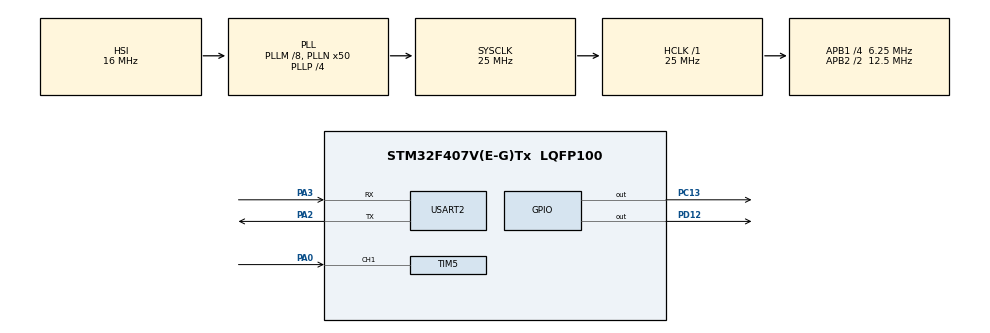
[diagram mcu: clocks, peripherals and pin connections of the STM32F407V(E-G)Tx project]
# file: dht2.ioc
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Mcu.Family=STM32F4
Mcu.Name=STM32F407V(E-G)Tx
Mcu.Package=LQFP100
NVIC.PriorityGroup=NVIC_PRIORITYGROUP_0
PA0-WKUP.Signal=S_TIM5_CH1
PA2.Mode=Asynchronous
PA2.Signal=USART2_TX
PA3.Mode=Asynchronous
PA3.Signal=USART2_RX
PC13-ANTI_TAMP.Signal=GPIO_Output
PD12.Signal=GPIO_Output
ProjectManager.HeapSize=0x200
ProjectManager.StackSize=0x400
ProjectManager.TargetToolchain=STM32CubeIDE
RCC.48MHZClocksFreq_Value=14285714.285714285
RCC.AHBFreq_Value=25000000
RCC.APB1CLKDivider=RCC_HCLK_DIV4
RCC.APB1Freq_Value=6250000
RCC.APB1TimFreq_Value=12500000
RCC.APB2CLKDivider=RCC_HCLK_DIV2
RCC.APB2Freq_Value=12500000
RCC.APB2TimFreq_Value=25000000
RCC.CortexFreq_Value=25000000
RCC.HCLKFreq_Value=25000000
RCC.HSE_VALUE=8000000
RCC.HSI_VALUE=16000000
RCC.LSE_VALUE=32768
RCC.PLLM=8
RCC.PLLN=50
RCC.PLLP=RCC_PLLP_DIV4
RCC.PLLQ=7
RCC.SYSCLKFreq_VALUE=25000000
RCC.SYSCLKSource=RCC_SYSCLKSOURCE_PLLCLK
RCC.VCOOutputFreq_Value=100000000
SH.S_TIM5_CH1.0=TIM5_CH1,Input_Capture1_from_TI1
TIM5.Channel-Input_Capture1_from_TI1=TIM_CHANNEL_1
USART2.VirtualMode=VM_ASYNC
board=STM32F407G-DISC1

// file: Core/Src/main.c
/* USER CODE BEGIN Header */
/**
  ******************************************************************************
  * @file           : main.c
  * @brief          : Main program body
  ******************************************************************************
  * @attention
  *
  * Copyright (c) 2023 STMicroelectronics.
  * All rights reserved.
  *
  * This software is licensed under terms that can be found in the LICENSE file
  * in the root directory of this software component.
  * If no LICENSE file comes with this software, it is provided AS-IS.
  *
  ******************************************************************************
  */
/* USER CODE END Header */
#include "main.h"

/* USER CODE BEGIN PM */
#define DHT22_PIN GPIO_PIN_13
#define DHT22_PORT GPIOC
/* USER CODE END PM */

TIM_HandleTypeDef htim5;

UART_HandleTypeDef huart2;

void SystemClock_Config(void);
static void MX_GPIO_Init(void);
static void MX_TIM5_Init(void);
static void MX_USART2_UART_Init(void);
/* USER CODE BEGIN PFP */
void DHT22_DelayMicroseconds(uint32_t us) {
    __HAL_TIM_SET_COUNTER(&htim5, 0);
    while ((__HAL_TIM_GET_COUNTER(&htim5)) < us)
        ;
}

void DHT22_StartSignal(void) {
    HAL_GPIO_WritePin(DHT22_PORT, DHT22_PIN, GPIO_PIN_RESET);
    DHT22_DelayMicroseconds(500);
    HAL_GPIO_WritePin(DHT22_PORT, DHT22_PIN, GPIO_PIN_SET);
    DHT22_DelayMicroseconds(30);
}

HAL_StatusTypeDef DHT22_ReadData(float *temperature, float *humidity) {
    uint8_t data[5] = {0};
    uint8_t check_sum;

    // Start signal
    DHT22_StartSignal();

    // Wait for response from DHT22
    HAL_GPIO_WritePin(DHT22_PORT, DHT22_PIN, GPIO_PIN_RESET);
    HAL_Delay(1);
    HAL_GPIO_WritePin(DHT22_PORT, DHT22_PIN, GPIO_PIN_SET);
    HAL_Delay(1);

    // Read response (40 bits of data)
    for (int i = 0; i < 40; i++) {
        while (!HAL_GPIO_ReadPin(DHT22_PORT, DHT22_PIN))
            ;  // Wait for the signal to go high
        DHT22_DelayMicroseconds(30);  // Wait for 30us
        if (HAL_GPIO_ReadPin(DHT22_PORT, DHT22_PIN)) {
            data[i / 8] <<= 1;
            data[i / 8] |= 1;
        } else {
            data[i / 8] <<= 1;
        }
        while (HAL_GPIO_ReadPin(DHT22_PORT, DHT22_PIN))
            ;  // Wait for the signal to go low
    }

    // Checksum verification
    check_sum = data[0] + data[1] + data[2] + data[3];
    if (check_sum == data[4]) {
        // Data is valid, convert to temperature and humidity
        *humidity = ((float)((data[0] << 8) + data[1])) / 10.0;
        *temperature = ((float)((data[2] << 8) + data[3])) / 10.0;
        return HAL_OK;
    } else {
        // Checksum error
        return HAL_ERROR;
    }
}
/* USER CODE END PFP */

int main(void)
{

  /* MCU Configuration--------------------------------------------------------*/

  /* Reset of all peripherals, Initializes the Flash interface and the Systick. */
  HAL_Init();

  /* Configure the system clock */
  SystemClock_Config();

  /* Initialize all configured peripherals */
  MX_GPIO_Init();
  MX_TIM5_Init();
  MX_USART2_UART_Init();
  /* USER CODE BEGIN 2 */
  void UART_Gets(char buffer[]) {
  	char ch;
  	int i=0;
  	do {
  		HAL_UART_Receive(&huart2, (uint8_t*)&ch, sizeof(ch), HAL_MAX_DELAY);
  		buffer[i++] = ch;
  	} while(ch != '\r');
  	buffer[i++] = '\n';
  	buffer[i++] = '\0';
  }

  /* USER CODE END 2 */

  /* Infinite loop */
  while (1)
  {
	  int16_t temperature, humidity;
	        // if (DHT22_ReadData(&temperature, &humidity) == HAL_OK) {
	             char buffer[50];
	             sprintf(buffer, "Temperature: %d.%d°C, Humidity: %d.%d%%\r\n",
	                     temperature / 10, temperature % 10, humidity / 10, humidity % 10);
	             HAL_UART_Transmit(&huart2, (uint8_t *)buffer, strlen(buffer), HAL_MAX_DELAY);
	            // HAL_GPIO_WritePin(GPIOD, GPIO_PIN_12, GPIO_PIN_SET);

	         HAL_Delay(2000);  // Delay for 2 seconds between sensor readings
  }
}

void SystemClock_Config(void)
{
  RCC_OscInitTypeDef RCC_OscInitStruct = {0};
  RCC_ClkInitTypeDef RCC_ClkInitStruct = {0};

  /** Configure the main internal regulator output voltage
  */
  __HAL_RCC_PWR_CLK_ENABLE();
  __HAL_PWR_VOLTAGESCALING_CONFIG(PWR_REGULATOR_VOLTAGE_SCALE1);

  /** Initializes the RCC Oscillators according to the specified parameters
  * in the RCC_OscInitTypeDef structure.
  */
  RCC_OscInitStruct.OscillatorType = RCC_OSCILLATORTYPE_HSI;
  RCC_OscInitStruct.HSIState = RCC_HSI_ON;
  RCC_OscInitStruct.HSICalibrationValue = RCC_HSICALIBRATION_DEFAULT;
  RCC_OscInitStruct.PLL.PLLState = RCC_PLL_ON;
  RCC_OscInitStruct.PLL.PLLSource = RCC_PLLSOURCE_HSI;
  RCC_OscInitStruct.PLL.PLLM = 8;
  RCC_OscInitStruct.PLL.PLLN = 50;
  RCC_OscInitStruct.PLL.PLLP = RCC_PLLP_DIV4;
  RCC_OscInitStruct.PLL.PLLQ = 7;
  if (HAL_RCC_OscConfig(&RCC_OscInitStruct) != HAL_OK)
  {
    Error_Handler();
  }

  /** Initializes the CPU, AHB and APB buses clocks
  */
  RCC_ClkInitStruct.ClockType = RCC_CLOCKTYPE_HCLK|RCC_CLOCKTYPE_SYSCLK
                              |RCC_CLOCKTYPE_PCLK1|RCC_CLOCKTYPE_PCLK2;
  RCC_ClkInitStruct.SYSCLKSource = RCC_SYSCLKSOURCE_PLLCLK;
  RCC_ClkInitStruct.AHBCLKDivider = RCC_SYSCLK_DIV1;
  RCC_ClkInitStruct.APB1CLKDivider = RCC_HCLK_DIV4;
  RCC_ClkInitStruct.APB2CLKDivider = RCC_HCLK_DIV2;

  if (HAL_RCC_ClockConfig(&RCC_ClkInitStruct, FLASH_LATENCY_0) != HAL_OK)
  {
    Error_Handler();
  }
}

static void MX_TIM5_Init(void)
{

  TIM_MasterConfigTypeDef sMasterConfig = {0};
  TIM_IC_InitTypeDef sConfigIC = {0};

  htim5.Instance = TIM5;
  htim5.Init.Prescaler = 0;
  htim5.Init.CounterMode = TIM_COUNTERMODE_UP;
  htim5.Init.Period = 4294967295;
  htim5.Init.ClockDivision = TIM_CLOCKDIVISION_DIV1;
  htim5.Init.AutoReloadPreload = TIM_AUTORELOAD_PRELOAD_DISABLE;
  if (HAL_TIM_IC_Init(&htim5) != HAL_OK)
  {
    Error_Handler();
  }
  sMasterConfig.MasterOutputTrigger = TIM_TRGO_RESET;
  sMasterConfig.MasterSlaveMode = TIM_MASTERSLAVEMODE_DISABLE;
  if (HAL_TIMEx_MasterConfigSynchronization(&htim5, &sMasterConfig) != HAL_OK)
  {
    Error_Handler();
  }
  sConfigIC.ICPolarity = TIM_INPUTCHANNELPOLARITY_RISING;
  sConfigIC.ICSelection = TIM_ICSELECTION_DIRECTTI;
  sConfigIC.ICPrescaler = TIM_ICPSC_DIV1;
  sConfigIC.ICFilter = 0;
  if (HAL_TIM_IC_ConfigChannel(&htim5, &sConfigIC, TIM_CHANNEL_1) != HAL_OK)
  {
    Error_Handler();
  }

}

static void MX_USART2_UART_Init(void)
{

  huart2.Instance = USART2;
  huart2.Init.BaudRate = 115200;
  huart2.Init.WordLength = UART_WORDLENGTH_8B;
  huart2.Init.StopBits = UART_STOPBITS_1;
  huart2.Init.Parity = UART_PARITY_NONE;
  huart2.Init.Mode = UART_MODE_TX_RX;
  huart2.Init.HwFlowCtl = UART_HWCONTROL_NONE;
  huart2.Init.OverSampling = UART_OVERSAMPLING_16;
  if (HAL_UART_Init(&huart2) != HAL_OK)
  {
    Error_Handler();
  }

}

static void MX_GPIO_Init(void)
{
  GPIO_InitTypeDef GPIO_InitStruct = {0};

  /* GPIO Ports Clock Enable */
  __HAL_RCC_GPIOC_CLK_ENABLE();
  __HAL_RCC_GPIOA_CLK_ENABLE();

  /*Configure GPIO pin Output Level */
  HAL_GPIO_WritePin(GPIOC, GPIO_PIN_13, GPIO_PIN_RESET);

  /*Configure GPIO pin : PC13 */
  GPIO_InitStruct.Pin = GPIO_PIN_13;
  GPIO_InitStruct.Mode = GPIO_MODE_OUTPUT_PP;
  GPIO_InitStruct.Pull = GPIO_NOPULL;
  GPIO_InitStruct.Speed = GPIO_SPEED_FREQ_LOW;
  HAL_GPIO_Init(GPIOC, &GPIO_InitStruct);

}

void Error_Handler(void)
{
  __disable_irq();
  while (1)
  {
  }
}
